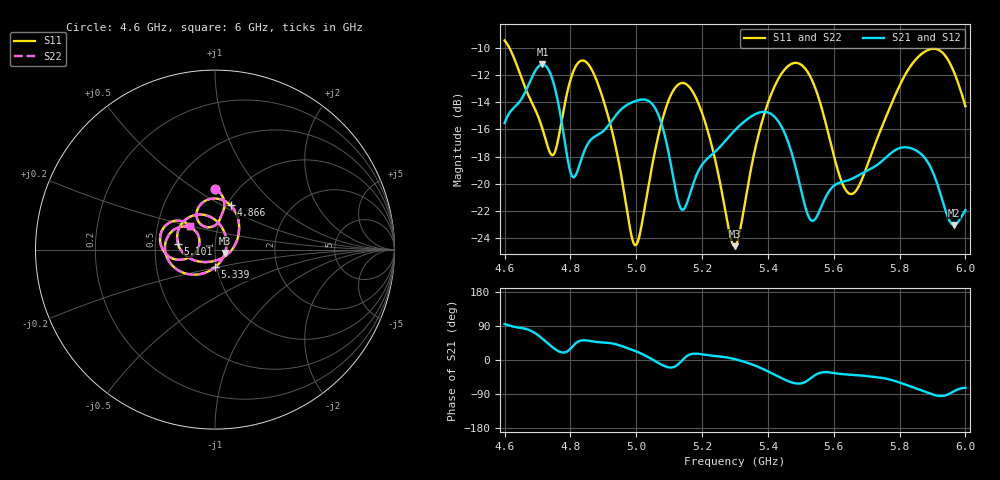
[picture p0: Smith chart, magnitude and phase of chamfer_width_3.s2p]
! TOUCHSTONE file generated by CST MICROWAVE STUDIO
! Date and time: Sun Dec  1 17:26:32 2024
! Project name: test_tuning.cst
! Parameters = {airCoaxOuterDiameter=3; chamferAngle=45; chamferWidth=6; connectorLength=10; drillingHoleDiameter=4.1; feedLength=60; flareDiameter=130; flareLength=70; gratingDistance=0; gratingGap=1.90274; outletLength=30; polarizerLength=134; probe1Diameter=1.3; probe1Distance=14; probe1Length=12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
! Header version: 2024
! Port assignment regex: !\s*Touchstone port\s*([0-9]+)\s*=\s*(CST MWS port|CST DES external port|CST DES block port)\s*(.+)\s* \(\"(.*)\"\)(\s*mode\s*([0-9]+))?.*
! Touchstone port assignment:
! Touchstone port 1 = CST MWS port 1 ("Input1")
! Touchstone port 2 = CST MWS port 2 ("Input2")
# GHz S MA R 50
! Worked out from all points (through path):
!   1001 points, 4.6 GHz to 6 GHz, reference 50 ohm
!   highest |S21| = -11.20 dB at 4.715 GHz (marker M1); lowest = -23.1 dB at 5.965 GHz (marker M2)
!   lowest |S11| = -24.6 dB at 5.299 GHz (marker M3), VSWR 1.12, Z = 55.9 - j2.04 ohm
!   |S11| at or under -10 dB: 4.615 GHz to end of sweep
!   |S22| runs from -24.6 to -9.4 dB; largest |S21 - S12| = 5.4e-07
!   S11 on the Smith chart (normalised r, x): 4.6 GHz: 0.80, +0.61; 4.866 GHz: 1.04, +0.55; 5.101 GHz: 0.66, +0.04; 5.339 GHz: 0.98, -0.19; 6 GHz: 0.73, +0.20
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4.6  0.3378 89.6  0.1673 94.8  0.1673 94.8  0.3378 89.6
4.7148  0.1596 82.3  0.2755 56.3  0.2755 56.3  0.1596 82.3
4.7512  0.1295 106.8  0.2294 29.9  0.2294 29.9  0.1295 106.8
4.8016  0.2451 113.3  0.1089 31.1  0.1089 31.1  0.2451 113.3
4.8338  0.2847 92.7  0.1236 51.7  0.1236 51.7  0.2847 92.7
4.866  0.2617 70.6  0.1468 49.2  0.1468 49.2  0.2617 70.6
4.9262  0.1567 33.1  0.171 43.8  0.171 43.8  0.1567 33.1
4.9948  0.05952 -61.7  0.2013 24.4  0.2013 24.4  0.05952 -61.7
5.0676  0.1511 -162.0  0.1789 -8.1  0.1789 -8.1  0.1511 -162.0
5.1012  0.2071 171.8  0.1248 -19.7  0.1248 -19.7  0.2071 171.8
5.139  0.2353 141.8  0.08016 -1.2  0.08016 -1.2  0.2353 141.8
5.1852  0.2026 107.3  0.109 16.5  0.109 16.5  0.2026 107.3
5.2986  0.05878 -18.0  0.1571 2.4  0.1571 2.4  0.05878 -18.0
5.3  0.05883 -21.3  0.1577 2.1  0.1577 2.1  0.05883 -21.3
5.3392  0.09845 -90.0  0.1736 -7.9  0.1736 -7.9  0.09845 -90.0
5.4372  0.2502 -157.6  0.1657 -46.2  0.1657 -46.2  0.2502 -157.6
5.5338  0.2412 149.7  0.0729 -45.7  0.0729 -45.7  0.2412 149.7
5.6486  0.09173 163.9  0.1034 -38.7  0.1034 -38.7  0.09173 163.8
5.7676  0.1871 -162.8  0.1277 -50.9  0.1277 -50.9  0.1871 -162.8
5.8782  0.3079 172.2  0.1238 -84.2  0.1238 -84.2  0.3079 172.2
5.965  0.2589 141.5  0.07037 -82.7  0.07037 -82.7  0.2589 141.5
6  0.1934 137.0  0.07988 -73.3  0.07988 -73.3  0.1934 137.0
